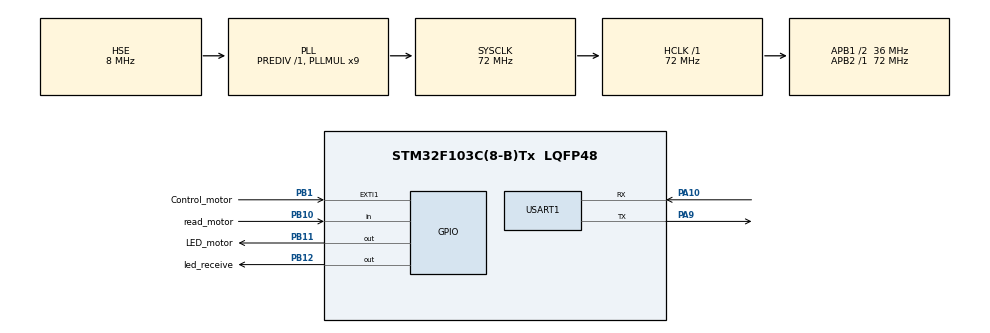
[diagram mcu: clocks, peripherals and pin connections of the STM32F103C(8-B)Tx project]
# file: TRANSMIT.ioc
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Mcu.Family=STM32F1
Mcu.Name=STM32F103C(8-B)Tx
Mcu.Package=LQFP48
NVIC.EXTI1_IRQn=true\:0\:0\:false\:false\:true\:true
NVIC.PriorityGroup=NVIC_PRIORITYGROUP_4
NVIC.USART1_IRQn=true\:0\:0\:false\:false\:true\:true
PA10.Mode=Asynchronous
PA10.Signal=USART1_RX
PA13.Mode=Serial_Wire
PA13.Signal=SYS_JTMS-SWDIO
PA14.Mode=Serial_Wire
PA14.Signal=SYS_JTCK-SWCLK
PA9.Mode=Asynchronous
PA9.Signal=USART1_TX
PB1.GPIO_Label=Control_motor
PB1.GPIO_ModeDefaultEXTI=GPIO_MODE_IT_FALLING
PB1.GPIO_PuPd=GPIO_NOPULL
PB1.Signal=GPXTI1
PB10.GPIO_Label=read_motor
PB10.Signal=GPIO_Input
PB11.GPIO_Label=LED_motor
PB11.Signal=GPIO_Output
PB12.GPIO_Label=led_receive
PB12.GPIO_Speed=GPIO_SPEED_FREQ_HIGH
PB12.Signal=GPIO_Output
PD0-OSC_IN.Mode=HSE-External-Oscillator
PD0-OSC_IN.Signal=RCC_OSC_IN
PD1-OSC_OUT.Mode=HSE-External-Oscillator
PD1-OSC_OUT.Signal=RCC_OSC_OUT
ProjectManager.HeapSize=0x200
ProjectManager.StackSize=0x400
ProjectManager.TargetToolchain=MDK-ARM V5
RCC.AHBFreq_Value=72000000
RCC.APB1CLKDivider=RCC_HCLK_DIV2
RCC.APB1Freq_Value=36000000
RCC.APB1TimFreq_Value=72000000
RCC.APB2Freq_Value=72000000
RCC.APB2TimFreq_Value=72000000
RCC.HCLKFreq_Value=72000000
RCC.PLLMUL=RCC_PLL_MUL9
RCC.PLLSourceVirtual=RCC_PLLSOURCE_HSE
RCC.SYSCLKFreq_VALUE=72000000
RCC.SYSCLKSource=RCC_SYSCLKSOURCE_PLLCLK
RCC.USBFreq_Value=72000000
USART1.VirtualMode=VM_ASYNC
board=custom

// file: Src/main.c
/**
  ******************************************************************************
  * @file           : main.c
  * @brief          : Main program body
  ******************************************************************************
  ** This notice applies to any and all portions of this file
  * that are not between comment pairs USER CODE BEGIN and
  * USER CODE END. Other portions of this file, whether
  * inserted by the user or by software development tools
  * are owned by their respective copyright owners.
  *
  * COPYRIGHT(c) 2019 STMicroelectronics
  *
  * Redistribution and use in source and binary forms, with or without modification,
  * are permitted provided that the following conditions are met:
  *   1. Redistributions of source code must retain the above copyright notice,
  *      this list of conditions and the following disclaimer.
  *   2. Redistributions in binary form must reproduce the above copyright notice,
  *      this list of conditions and the following disclaimer in the documentation
  *      and/or other materials provided with the distribution.
  *   3. Neither the name of STMicroelectronics nor the names of its contributors
  *      may be used to endorse or promote products derived from this software
  *      without specific prior written permission.
  *
  * THIS SOFTWARE IS PROVIDED BY THE COPYRIGHT HOLDERS AND CONTRIBUTORS "AS IS"
  * AND ANY EXPRESS OR IMPLIED WARRANTIES, INCLUDING, BUT NOT LIMITED TO, THE
  * IMPLIED WARRANTIES OF MERCHANTABILITY AND FITNESS FOR A PARTICULAR PURPOSE ARE
  * DISCLAIMED. IN NO EVENT SHALL THE COPYRIGHT HOLDER OR CONTRIBUTORS BE LIABLE
  * FOR ANY DIRECT, INDIRECT, INCIDENTAL, SPECIAL, EXEMPLARY, OR CONSEQUENTIAL
  * DAMAGES (INCLUDING, BUT NOT LIMITED TO, PROCUREMENT OF SUBSTITUTE GOODS OR
  * SERVICES; LOSS OF USE, DATA, OR PROFITS; OR BUSINESS INTERRUPTION) HOWEVER
  * CAUSED AND ON ANY THEORY OF LIABILITY, WHETHER IN CONTRACT, STRICT LIABILITY,
  * OR TORT (INCLUDING NEGLIGENCE OR OTHERWISE) ARISING IN ANY WAY OUT OF THE USE
  * OF THIS SOFTWARE, EVEN IF ADVISED OF THE POSSIBILITY OF SUCH DAMAGE.
  *
  ******************************************************************************
  */
#include "main.h"
#include "stm32f1xx_hal.h"

/* USER CODE BEGIN Includes */
#include "dwt_stm32_delay.h"
#include "CTR_nrf24l01.h"
#include "stdio.h"
#include "string.h"
/* USER CODE END Includes */

UART_HandleTypeDef huart1;

/* USER CODE BEGIN PV */
/* Private variables ---------------------------------------------------------*/
void NRF24L01_Config()
{
	CTR_nrfPinConfig();
}
//----------------------khai bao bien cho ham truyen nhan NRF24L01 A-----------------------//
uint8_t chuoi[32];
char ok[32]="ok\r\n";
char check_ok[32]="ok";
uint8_t check_lai_lan_cuoi[32]="check lai lan cuoi\r\n";
uint8_t test[32]="start\r\n";
char T[32]=" C   ";
char H[32]=" %\r\n";
char xuong_hang[32]="\r\n";
char chuoi_truyen[32];

int a=0;
long reset=0;
int thoi_gian_check=0;
//----------------------khai bao bien cho ham truyen nhan NRF24L01 A-----------------------//
//bien ngat//
int count=0;
//bien ngat//

/* USER CODE END PV */

void SystemClock_Config(void);
static void MX_GPIO_Init(void);
static void MX_USART1_UART_Init(void);

/* USER CODE BEGIN PFP */
/* Private function prototypes -----------------------------------------------*/

/* USER CODE END PFP */

/* USER CODE BEGIN 0 */
char bat_san[32]="        Bat san\r\n";
char tat_san[32]="        Tat san\r\n";
char bat[32]="        Bat\r\n";
char bat_khong_duoc[32]="        Bat khong duoc\r\n";
char tat[32]="        Tat\r\n";
char tat_khong_duoc[32]="        Tat khong duoc\r\n";
void read()
{
	if(count != 0)
	{
		if(count%2 == 0 || count%2 != 0)
		{
			HAL_UART_Transmit(&huart1,(uint8_t*)"\r\nChe do dieu khien tay\r\n",26,5);
			snprintf(chuoi_truyen, sizeof(chuoi_truyen), "DK TAY");
		}
		a=1;//de khong gui ok
		reset=801;//de khi vao che do dieu khien tay thi khong tu reset dong co nua
	}
	else
	{
		if(strcmp(chuoi, "ON_1b") == 0 )
		//if(strcmp(chuoi, "ON_2b") == 0 )
		{
			if(HAL_GPIO_ReadPin(read_motor_GPIO_Port, read_motor_Pin)==1)
			{
				HAL_UART_Transmit(&huart1,bat_san,32,5);
				snprintf(chuoi_truyen, sizeof(chuoi_truyen), "ON_1b");
				//snprintf(chuoi_truyen, sizeof(chuoi_truyen), "ON_2b");
				//khong can bat nua
			}
			else if(HAL_GPIO_ReadPin(read_motor_GPIO_Port, read_motor_Pin)==0)
			{
				HAL_UART_Transmit(&huart1,bat,32,5);
				HAL_GPIO_WritePin(LED_motor_GPIO_Port, LED_motor_Pin, GPIO_PIN_SET);
				if(HAL_GPIO_ReadPin(read_motor_GPIO_Port, read_motor_Pin)==0)
				{
					HAL_UART_Transmit(&huart1,bat_khong_duoc,32,5);
					snprintf(chuoi_truyen, sizeof(chuoi_truyen), "Khong bat duoc bom_1b");
					//snprintf(chuoi_truyen, sizeof(chuoi_truyen), "Khong bat duoc bom_2b");
				}
				else
				{
					snprintf(chuoi_truyen, sizeof(chuoi_truyen), "ON_1b");
					//snprintf(chuoi_truyen, sizeof(chuoi_truyen), "ON_2b");
				}
			}
			snprintf(chuoi_truyen, sizeof(chuoi_truyen), "ON_1b");
			//snprintf(chuoi_truyen, sizeof(chuoi_truyen), "ON_2b");
		}
		else if(strcmp(chuoi, "OFF_1b") == 0)
		//else if(strcmp(chuoi, "OFF_2b") == 0)
		{
			if(HAL_GPIO_ReadPin(read_motor_GPIO_Port, read_motor_Pin)==0)
			{
				//khong can tat nua
				HAL_UART_Transmit(&huart1,tat_san,32,5);
				snprintf(chuoi_truyen, sizeof(chuoi_truyen), "OFF_1b");
				//snprintf(chuoi_truyen, sizeof(chuoi_truyen), "OFF_2b");
			}
			else if(HAL_GPIO_ReadPin(read_motor_GPIO_Port, read_motor_Pin)==1)
			{
				HAL_UART_Transmit(&huart1,tat,32,5);
				HAL_GPIO_WritePin(LED_motor_GPIO_Port, LED_motor_Pin, GPIO_PIN_RESET);
				if(HAL_GPIO_ReadPin(read_motor_GPIO_Port, read_motor_Pin)==1)
				{
					HAL_UART_Transmit(&huart1,tat_khong_duoc,32,5);
					snprintf(chuoi_truyen, sizeof(chuoi_truyen), "Khong tat duoc bom_1b");
					//snprintf(chuoi_truyen, sizeof(chuoi_truyen), "Khong tat duoc bom_2b");
				}
				else
				{
					snprintf(chuoi_truyen, sizeof(chuoi_truyen), "OFF_1b");
					//snprintf(chuoi_truyen, sizeof(chuoi_truyen), "OFF_2b");
				}
			}
		}
	}
}

/* USER CODE END 0 */

int main(void)
{

  /* MCU Configuration----------------------------------------------------------*/

  /* Reset of all peripherals, Initializes the Flash interface and the Systick. */
  HAL_Init();

  /* Configure the system clock */
  SystemClock_Config();

  /* Initialize all configured peripherals */
  MX_GPIO_Init();
  MX_USART1_UART_Init();
  /* USER CODE BEGIN 2 */
	DWT_Delay_Init();
	NRF24L01_Config();
	CTR_nrfInit(); // khoi tao
	CTR_spiRWreg(CTR_WRITE_RE + CTR_STATUS, 0xFF);//XOA BIT tren thanh Status
	CTR_nrfSetRX();
	// them doan ma can gui vao buffer gui

  /* USER CODE END 2 */

  /* Infinite loop */
	while (1)
	{

  /* USER CODE BEGIN 3 */
		reset++;
		a=0;
		thoi_gian_check=0;
		if(CTR_nrfGetPacket(chuoi)==1)
		{
			HAL_UART_Transmit(&huart1,(uint8_t*)"\r\nchuoi nhan\r\n",14,40);
			HAL_UART_Transmit(&huart1,chuoi,32,5);
			HAL_GPIO_WritePin(led_receive_GPIO_Port, led_receive_Pin, GPIO_PIN_SET);
			if(strcmp(chuoi, "ON_1b") == 0 || strcmp(chuoi, "OFF_1b") == 0)
			//if(strcmp(chuoi, "ON_2b") == 0 || strcmp(chuoi, "OFF_2b") == 0)
			{
				//HAL_UART_Transmit(&huart1,chuoi,32,5);//xem chuoi nhan duoc tren pc
				read();
				memset(chuoi,0x00,32);//xoa chuoi
				HAL_UART_Transmit(&huart1,(uint8_t*)"dang truyen\r\n",15,5);
				HAL_UART_Transmit(&huart1,chuoi_truyen,32,5);
				CTR_nrfSetTX();
				CTR_nrfSendPacket(chuoi_truyen);
				if(a==0)
				{
					HAL_UART_Transmit(&huart1,(uint8_t*)"\r\nkiem tra co nhan duoc ok khong\r\n",36,5);
					CTR_nrfSetRX();
					HAL_Delay(1000);
				}
				else
				{
					HAL_UART_Transmit(&huart1,(uint8_t*)"\r\nKET THUC\r\n",14,5);
				}
				while(a==0)
				{
					thoi_gian_check+=1;
					if(CTR_nrfGetPacket(chuoi)==1)
					{
						HAL_UART_Transmit(&huart1,chuoi,32,5);
						int chuoi_ok = strcmp(chuoi, ok);
						if(chuoi_ok == 0)
						{
							a=1;//thoat vong cho ok
							reset=0;
							HAL_UART_Transmit(&huart1,(uint8_t*)"truyen ok\r\n",12,5);
							CTR_nrfSetTX();
							CTR_nrfSendPacket(check_ok);
							HAL_UART_Transmit(&huart1,(uint8_t*)"KET THUC\r\n",10,5);
						}
						else
						{
							a=1;
							//HAL_UART_Transmit(&huart1,chuoi,32,5);
							HAL_UART_Transmit(&huart1,(uint8_t*)"chuoi loi\r\n",12,5);
							CTR_spiRWreg(CTR_WRITE_RE + CTR_STATUS, 0xFF);//XOA BIT tren thanh Status
							//CTR_nrfSetRX();
							//thoi_gian_check=6;
						}
						memset(chuoi,0x00,32);//xoa chuoi
					}
					//neu khong nhan duoc chuoi ok thi tat motor
					if(thoi_gian_check>50)
					{
						a=1;
						HAL_UART_Transmit(&huart1,(uint8_t*)"het gio cho => khong thanh cong\r\n",35,5);
						if(HAL_GPIO_ReadPin(GPIOB, GPIO_PIN_11)==0)
						{
							//neu tat roi thi thoi
						}
						else if(HAL_GPIO_ReadPin(GPIOB, GPIO_PIN_11)==1)
						{
							HAL_GPIO_WritePin(LED_motor_GPIO_Port, LED_motor_Pin, GPIO_PIN_RESET);
							//tat neu motor chua tat sau khi ket thuc qua trinh ntruyen nhan loi
						}
					}
				}
			}
			memset(chuoi,0x00,32);//xoa chuoi
			CTR_spiRWreg(CTR_WRITE_RE + CTR_STATUS, 0xFF);//XOA BIT tren thanh Status
			CTR_nrfSetRX();
			HAL_GPIO_WritePin(led_receive_GPIO_Port, led_receive_Pin, GPIO_PIN_RESET);
		}
		if(reset==800)
		{
			if(HAL_GPIO_ReadPin(GPIOB, GPIO_PIN_11)==0)
			{
				//neu tat roi thi thoi
				//HAL_GPIO_WritePin(LED_motor_GPIO_Port, LED_motor_Pin, GPIO_PIN_SET);
			}
			else if(HAL_GPIO_ReadPin(GPIOB, GPIO_PIN_11)==1)
			{
				HAL_GPIO_WritePin(LED_motor_GPIO_Port, LED_motor_Pin, GPIO_PIN_RESET);
				//tat neu motor chua tat sau khi ket thuc qua trinh ntruyen nhan loi
			}
			reset=0;
			HAL_UART_Transmit(&huart1,(uint8_t*)"RESET LAI THIET BI\r\n",22,5);
		}
	}
  /* USER CODE END 3 */

}

void SystemClock_Config(void)
{

  RCC_OscInitTypeDef RCC_OscInitStruct;
  RCC_ClkInitTypeDef RCC_ClkInitStruct;

    /**Initializes the CPU, AHB and APB busses clocks
    */
  RCC_OscInitStruct.OscillatorType = RCC_OSCILLATORTYPE_HSE;
  RCC_OscInitStruct.HSEState = RCC_HSE_ON;
  RCC_OscInitStruct.HSEPredivValue = RCC_HSE_PREDIV_DIV1;
  RCC_OscInitStruct.HSIState = RCC_HSI_ON;
  RCC_OscInitStruct.PLL.PLLState = RCC_PLL_ON;
  RCC_OscInitStruct.PLL.PLLSource = RCC_PLLSOURCE_HSE;
  RCC_OscInitStruct.PLL.PLLMUL = RCC_PLL_MUL9;
  if (HAL_RCC_OscConfig(&RCC_OscInitStruct) != HAL_OK)
  {
    _Error_Handler(__FILE__, __LINE__);
  }

    /**Initializes the CPU, AHB and APB busses clocks
    */
  RCC_ClkInitStruct.ClockType = RCC_CLOCKTYPE_HCLK|RCC_CLOCKTYPE_SYSCLK
                              |RCC_CLOCKTYPE_PCLK1|RCC_CLOCKTYPE_PCLK2;
  RCC_ClkInitStruct.SYSCLKSource = RCC_SYSCLKSOURCE_PLLCLK;
  RCC_ClkInitStruct.AHBCLKDivider = RCC_SYSCLK_DIV1;
  RCC_ClkInitStruct.APB1CLKDivider = RCC_HCLK_DIV2;
  RCC_ClkInitStruct.APB2CLKDivider = RCC_HCLK_DIV1;

  if (HAL_RCC_ClockConfig(&RCC_ClkInitStruct, FLASH_LATENCY_2) != HAL_OK)
  {
    _Error_Handler(__FILE__, __LINE__);
  }

    /**Configure the Systick interrupt time
    */
  HAL_SYSTICK_Config(HAL_RCC_GetHCLKFreq()/1000);

    /**Configure the Systick
    */
  HAL_SYSTICK_CLKSourceConfig(SYSTICK_CLKSOURCE_HCLK);

  /* SysTick_IRQn interrupt configuration */
  HAL_NVIC_SetPriority(SysTick_IRQn, 0, 0);
}

/* USART1 init function */
static void MX_USART1_UART_Init(void)
{

  huart1.Instance = USART1;
  huart1.Init.BaudRate = 115200;
  huart1.Init.WordLength = UART_WORDLENGTH_8B;
  huart1.Init.StopBits = UART_STOPBITS_1;
  huart1.Init.Parity = UART_PARITY_NONE;
  huart1.Init.Mode = UART_MODE_TX_RX;
  huart1.Init.HwFlowCtl = UART_HWCONTROL_NONE;
  huart1.Init.OverSampling = UART_OVERSAMPLING_16;
  if (HAL_UART_Init(&huart1) != HAL_OK)
  {
    _Error_Handler(__FILE__, __LINE__);
  }

}

/** Configure pins as
        * Analog
        * Input
        * Output
        * EVENT_OUT
        * EXTI
*/
static void MX_GPIO_Init(void)
{

  GPIO_InitTypeDef GPIO_InitStruct;

  /* GPIO Ports Clock Enable */
  __HAL_RCC_GPIOD_CLK_ENABLE();
  __HAL_RCC_GPIOB_CLK_ENABLE();
  __HAL_RCC_GPIOA_CLK_ENABLE();

  /*Configure GPIO pin Output Level */
  HAL_GPIO_WritePin(GPIOB, LED_motor_Pin|led_receive_Pin, GPIO_PIN_RESET);

  /*Configure GPIO pin : Control_motor_Pin */
  GPIO_InitStruct.Pin = Control_motor_Pin;
  GPIO_InitStruct.Mode = GPIO_MODE_IT_FALLING;
  GPIO_InitStruct.Pull = GPIO_NOPULL;
  HAL_GPIO_Init(Control_motor_GPIO_Port, &GPIO_InitStruct);

  /*Configure GPIO pin : read_motor_Pin */
  GPIO_InitStruct.Pin = read_motor_Pin;
  GPIO_InitStruct.Mode = GPIO_MODE_INPUT;
  GPIO_InitStruct.Pull = GPIO_NOPULL;
  HAL_GPIO_Init(read_motor_GPIO_Port, &GPIO_InitStruct);

  /*Configure GPIO pin : LED_motor_Pin */
  GPIO_InitStruct.Pin = LED_motor_Pin;
  GPIO_InitStruct.Mode = GPIO_MODE_OUTPUT_PP;
  GPIO_InitStruct.Pull = GPIO_NOPULL;
  GPIO_InitStruct.Speed = GPIO_SPEED_FREQ_LOW;
  HAL_GPIO_Init(LED_motor_GPIO_Port, &GPIO_InitStruct);

  /*Configure GPIO pin : led_receive_Pin */
  GPIO_InitStruct.Pin = led_receive_Pin;
  GPIO_InitStruct.Mode = GPIO_MODE_OUTPUT_PP;
  GPIO_InitStruct.Pull = GPIO_NOPULL;
  GPIO_InitStruct.Speed = GPIO_SPEED_FREQ_HIGH;
  HAL_GPIO_Init(led_receive_GPIO_Port, &GPIO_InitStruct);

  /* EXTI interrupt init*/
  HAL_NVIC_SetPriority(EXTI1_IRQn, 0, 0);
  HAL_NVIC_EnableIRQ(EXTI1_IRQn);

}

/* USER CODE BEGIN 4 */
void HAL_GPIO_EXTI_Callback(uint16_t GPIO_Pin)
{
	if(HAL_GPIO_ReadPin(GPIOB,Control_motor_Pin)==0)
	{

		count++;
		if(count%2!=0)
		{
			HAL_GPIO_WritePin(LED_motor_GPIO_Port, LED_motor_Pin, GPIO_PIN_SET);
		}
		else if(count%2==0)
		{
			HAL_GPIO_WritePin(LED_motor_GPIO_Port, LED_motor_Pin, GPIO_PIN_RESET);
		}
		DWT_Delay_us(200000);
		while(HAL_GPIO_ReadPin(GPIOB,Control_motor_Pin)==0);

	}
}
/* USER CODE END 4 */

void _Error_Handler(char *file, int line)
{
	while(1)
	{
	}
}

/************************ (C) COPYRIGHT STMicroelectronics *****END OF FILE****/
